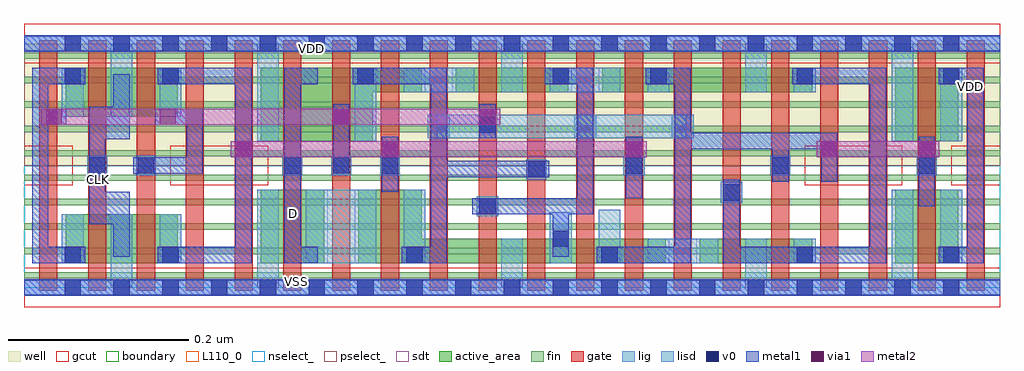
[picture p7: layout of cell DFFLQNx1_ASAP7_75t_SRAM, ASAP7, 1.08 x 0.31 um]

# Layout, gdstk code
import gdstk
lib = gdstk.Library(unit=1e-6, precision=2.5e-10)
def R(c, l, rs):  # rectangles x0, y0, x1, y1
    for r in rs: c.add(gdstk.rectangle(r[:2], r[2:], *l))
def A(c, l, x, y, w, h, nx, ny, dx, dy):  # array of equal rectangles
    R(c, l, [(x+i*dx, y+j*dy, x+i*dx+w, y+j*dy+h) for i in range(nx) for j in range(ny)])
def P(c, l, *ps):  # polygons
    for p in ps: c.add(gdstk.Polygon(p, *l))
well = (1, 0)
fin = (2, 0)
gate = (7, 0)
gcut = (10, 0)
active_area = (11, 0)
nselect_ = (12, 0)
pselect_ = (13, 0)
lig = (16, 0)
lisd = (17, 0)
v0 = (18, 0)
metal1 = (19, 0)
metal2 = (20, 0)
via1 = (21, 0)
sdt = (88, 0)
boundary = (100, 0)
L110_0 = (110, 0)

dfflqnx1_asap7_75t_sram = lib.new_cell('DFFLQNx1_ASAP7_75t_SRAM')
R(dfflqnx1_asap7_75t_sram, well, [(0,0.135,1.08,0.27)])
A(dfflqnx1_asap7_75t_sram, fin, 0, 0.01, 1.08, 0.007, 1, 10, 0, 0.027)
A(dfflqnx1_asap7_75t_sram, gate, 0.017, -0.0035, 0.02, 0.277, 20, 1, 0.054, 0)
R(dfflqnx1_asap7_75t_sram, gcut, [(0,-0.022,1.08,0.022), (0,0.113,0.054,0.157), (0.162,0.113,0.27,0.157), (0.864,0.113,0.972,0.157), (1.026,0.113,1.08,0.157), (0,0.248,1.08,0.292)])
R(dfflqnx1_asap7_75t_sram, active_area, [(0.046,0.027,0.17,0.081), (0.262,0.027,0.332,0.108), (0.748,0.027,0.872,0.054), (0.964,0.027,1.034,0.108), (0.964,0.162,1.034,0.243), (0.046,0.189,0.17,0.243), (0.478,0.216,0.602,0.243), (0.64,0.216,0.872,0.243)])
P(dfflqnx1_asap7_75t_sram, active_area, [(0.44,0.243),(0.262,0.243),(0.262,0.162),(0.386,0.162),(0.386,0.216),(0.44,0.216)],
  [(0.71,0.054),(0.44,0.054),(0.44,0.108),(0.37,0.108),(0.37,0.027),(0.71,0.027)])
R(dfflqnx1_asap7_75t_sram, nselect_, [(0,0,1.08,0.135)])
R(dfflqnx1_asap7_75t_sram, pselect_, [(0,0.135,1.08,0.27)])
A(dfflqnx1_asap7_75t_sram, lig, 0.286, 0.124, 0.022, 0.022, 3, 1, 0.054, 0)
R(dfflqnx1_asap7_75t_sram, lig, [(0,-0.008,1.08,0.008), (0.501,0.079,0.525,0.101), (0.771,0.094,0.795,0.117), (0.556,0.119,0.578,0.142), (0.07,0.124,0.092,0.146), (0.124,0.124,0.146,0.146), (0.663,0.124,0.687,0.146), (0.826,0.124,0.848,0.146), (0.988,0.124,1.01,0.146), (0.447,0.165,0.471,0.191), (0.609,0.165,0.633,0.191), (0.717,0.165,0.741,0.191), (0,0.262,1.08,0.278)])
R(dfflqnx1_asap7_75t_sram, lisd, [(0.096,0,0.12,0.081), (0.258,0,0.282,0.108), (0.528,0,0.552,0.054), (0.798,0,0.822,0.054), (0.96,0,0.984,0.108), (0.042,0.027,0.066,0.081), (0.15,0.027,0.174,0.081), (0.312,0.027,0.39,0.108), (0.42,0.027,0.444,0.108), (0.582,0.027,0.606,0.083), (0.636,0.027,0.66,0.086), (0.69,0.027,0.768,0.054), (0.852,0.027,0.876,0.054), (1.014,0.027,1.038,0.108), (0.258,0.162,0.282,0.27), (0.366,0.162,0.39,0.243), (0.96,0.162,0.984,0.27), (1.014,0.162,1.038,0.243), (0.457,0.165,0.733,0.191), (0.042,0.189,0.066,0.243), (0.096,0.189,0.12,0.27), (0.15,0.189,0.174,0.243), (0.42,0.216,0.498,0.243), (0.528,0.216,0.552,0.27), (0.582,0.216,0.66,0.243), (0.69,0.216,0.714,0.243), (0.798,0.216,0.822,0.27), (0.852,0.216,0.876,0.243)])
A(dfflqnx1_asap7_75t_sram, v0, 0.045, -0.009, 0.018, 0.018, 19, 2, 0.054, 0.27)
A(dfflqnx1_asap7_75t_sram, v0, 0.423, 0.027, 0.018, 0.018, 3, 1, 0.216, 0)
A(dfflqnx1_asap7_75t_sram, v0, 0.288, 0.126, 0.018, 0.018, 3, 1, 0.054, 0)
A(dfflqnx1_asap7_75t_sram, v0, 0.666, 0.126, 0.018, 0.018, 3, 1, 0.162, 0)
A(dfflqnx1_asap7_75t_sram, v0, 0.153, 0.225, 0.018, 0.018, 3, 1, 0.216, 0)
A(dfflqnx1_asap7_75t_sram, v0, 0.693, 0.225, 0.018, 0.018, 3, 1, 0.162, 0)
R(dfflqnx1_asap7_75t_sram, v0, [(0.045,0.027,0.063,0.045), (0.153,0.027,0.171,0.045), (1.017,0.027,1.035,0.045), (0.585,0.045,0.603,0.063), (0.504,0.081,0.522,0.099), (0.774,0.096,0.792,0.114), (0.558,0.122,0.576,0.14), (0.072,0.126,0.09,0.144), (0.126,0.126,0.144,0.144), (0.504,0.171,0.522,0.189), (0.045,0.225,0.063,0.243)])
R(dfflqnx1_asap7_75t_sram, metal1, [(0,-0.009,1.08,0.009), (0.99,0.09,1.008,0.167), (0.666,0.099,0.684,0.167), (0.396,0.106,0.414,0.167), (0.342,0.126,0.36,0.203), (0.504,0.165,0.522,0.203), (0,0.261,1.08,0.279)])
P(dfflqnx1_asap7_75t_sram, metal1, [(0.068,0.045),(0.027,0.045),(0.027,0.18),(0.047,0.18),(0.047,0.198),(0.027,0.198),(0.027,0.225),(0.068,0.225),(0.068,0.243),(0.009,0.243),(0.009,0.027),(0.068,0.027)],
  [(0.117,0.106),(0.09,0.106),(0.09,0.164),(0.117,0.164),(0.117,0.236),(0.099,0.236),(0.099,0.2),(0.072,0.2),(0.072,0.07),(0.099,0.07),(0.099,0.034),(0.117,0.034)],
  [(0.198,0.198),(0.145,0.198),(0.145,0.18),(0.18,0.18),(0.18,0.144),(0.121,0.144),(0.121,0.126),(0.198,0.126)],
  [(0.252,0.243),(0.148,0.243),(0.148,0.225),(0.234,0.225),(0.234,0.045),(0.148,0.045),(0.148,0.027),(0.252,0.027)],
  [(0.325,0.045),(0.306,0.045),(0.306,0.225),(0.325,0.225),(0.325,0.243),(0.288,0.243),(0.288,0.027),(0.325,0.027)],
  [(0.581,0.14),(0.468,0.14),(0.468,0.243),(0.364,0.243),(0.364,0.225),(0.45,0.225),(0.45,0.045),(0.418,0.045),(0.418,0.027),(0.468,0.027),(0.468,0.122),(0.581,0.122)],
  [(0.63,0.243),(0.576,0.243),(0.576,0.225),(0.612,0.225),(0.612,0.099),(0.496,0.099),(0.496,0.081),(0.585,0.081),(0.585,0.034),(0.603,0.034),(0.603,0.081),(0.63,0.081)],
  [(0.9,0.171),(0.738,0.171),(0.738,0.243),(0.688,0.243),(0.688,0.225),(0.72,0.225),(0.72,0.045),(0.634,0.045),(0.634,0.027),(0.738,0.027),(0.738,0.153),(0.828,0.153),(0.828,0.117),(0.846,0.117),(0.846,0.153),(0.882,0.153),(0.882,0.117),(0.9,0.117)],
  [(0.954,0.243),(0.85,0.243),(0.85,0.225),(0.936,0.225),(0.936,0.045),(0.792,0.045),(0.792,0.119),(0.774,0.119),(0.774,0.027),(0.954,0.027)],
  [(1.062,0.243),(1.012,0.243),(1.012,0.225),(1.044,0.225),(1.044,0.045),(1.012,0.045),(1.012,0.027),(1.062,0.027)])
R(dfflqnx1_asap7_75t_sram, metal2, [(0.229,0.144,0.689,0.162), (0.877,0.144,1.013,0.162), (0.019,0.18,0.527,0.198)])
R(dfflqnx1_asap7_75t_sram, via1, [(0.234,0.144,0.252,0.162), (0.396,0.144,0.414,0.162), (0.666,0.144,0.684,0.162), (0.882,0.144,0.9,0.162), (0.99,0.144,1.008,0.162), (0.024,0.18,0.042,0.198), (0.15,0.18,0.168,0.198), (0.342,0.18,0.36,0.198), (0.504,0.18,0.522,0.198)])
A(dfflqnx1_asap7_75t_sram, sdt, 0.042, 0.027, 0.024, 0.054, 3, 2, 0.054, 0.162)
A(dfflqnx1_asap7_75t_sram, sdt, 0.258, 0.027, 0.024, 0.081, 4, 1, 0.054, 0)
A(dfflqnx1_asap7_75t_sram, sdt, 0.528, 0.027, 0.024, 0.027, 7, 1, 0.054, 0)
A(dfflqnx1_asap7_75t_sram, sdt, 0.42, 0.216, 0.024, 0.027, 6, 1, 0.054, 0)
R(dfflqnx1_asap7_75t_sram, sdt, [(0.96,0.027,0.984,0.108), (1.014,0.027,1.038,0.108), (0.258,0.162,0.282,0.243), (0.366,0.162,0.39,0.243), (0.96,0.162,0.984,0.243), (1.014,0.162,1.038,0.243), (0.798,0.216,0.822,0.243), (0.852,0.216,0.876,0.243)])
R(dfflqnx1_asap7_75t_sram, boundary, [(0,0,1.08,0.27)])
R(dfflqnx1_asap7_75t_sram, L110_0, [(0,0,1.08,0.27)])
dfflqnx1_asap7_75t_sram.add(gdstk.Label('VDD', (1.047,0.222), layer=1, texttype=251))
dfflqnx1_asap7_75t_sram.add(gdstk.Label('VSS', (0.302,0.007), layer=19, texttype=251))
dfflqnx1_asap7_75t_sram.add(gdstk.Label('VDD', (0.318,0.264), layer=19, texttype=251))
dfflqnx1_asap7_75t_sram.add(gdstk.Label('QN', (1.056,0.223), layer=19, texttype=251))
dfflqnx1_asap7_75t_sram.add(gdstk.Label('D', (0.298,0.082), layer=19, texttype=251))
dfflqnx1_asap7_75t_sram.add(gdstk.Label('CLK', (0.082,0.119), layer=19, texttype=251))
dfflqnx1_asap7_75t_sram.add(gdstk.Label('VSS', (1.116,0.221), layer=3, texttype=251))

lib.write_gds('DFFLQNx1_ASAP7_75t_SRAM.gds')
